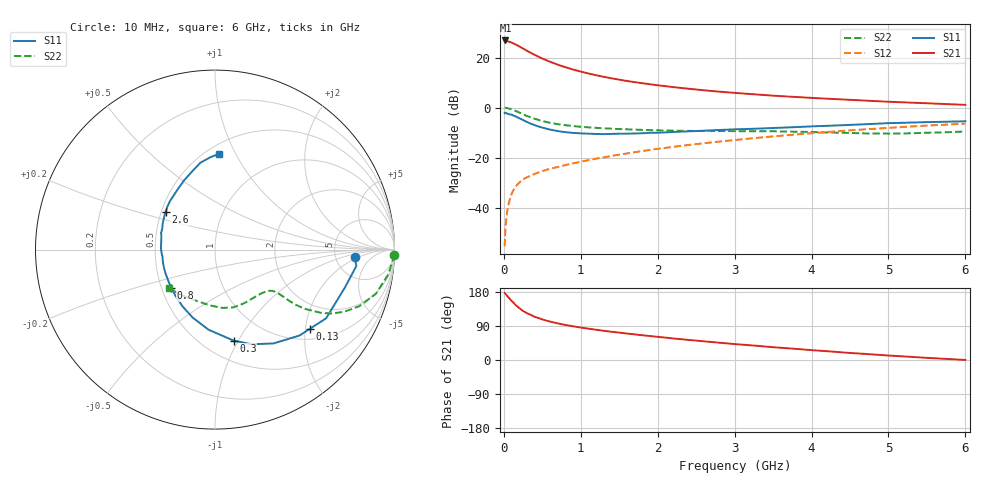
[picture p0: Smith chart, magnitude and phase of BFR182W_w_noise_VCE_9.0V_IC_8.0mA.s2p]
! Infineon Technologies  Discrete & RF Semiconductors
! BFR182W
! VCE =  9.0 V,  IC =  8.0 mA
! Common Emitter S-Parameters:  Jan 2017
# GHz  S  MA  R  50
!  f  S11  S21  S12  S22
! GHz  MAG  ANG  MAG  ANG  MAG  ANG  MAG  ANG
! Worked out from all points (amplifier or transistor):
!   77 points, 10 MHz to 6 GHz, reference 50 ohm
!   highest |S21| = 26.9 dB at 20 MHz (marker M1)
!   |S21| within 3 dB of that: start of sweep to 236.4 MHz
!   unconditionally stable (mu >= 1): 1.181 GHz to 2.7 GHz
!   at 130 MHz: K = 0.24, MSG = 29.1 dB, |S12| = -32.7 dB
!   at 2.2 GHz: K = 1.03, MAG = 10.9 dB, |S12| = -15.7 dB
!   at 6 GHz: K = 0.85, MSG = 3.8 dB, |S12| = -6.4 dB
!   lowest NFmin = 1.00 dB at 450 MHz
!   S11 on the Smith chart (normalised r, x): 10 MHz: 7.69, -1.71; 130 MHz: 1.27, -2.13; 300 MHz: 0.69, -0.96; 800 MHz: 0.56, -0.27; 2.6 GHz: 0.53, +0.25; 6 GHz: 0.58, +0.86
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0.01  0.7796 -3.2  21.86 176.8  0.0017 92.8  0.9968 -1.6
0.02  0.7928 -6.6  22.06 174.7  0.0036 91.2  0.9925 -3.4
0.05  0.7545 -16.1  21.33 167.5  0.0096 81.5  0.9751 -8.2
0.1  0.7279 -31.7  20.1 156.0  0.0187 75.2  0.9293 -15.4
0.13  0.6894 -39.7  19.05 150.0  0.0232 70.9  0.8889 -18.9
0.15  0.6717 -45.4  18.47 145.7  0.0263 68.8  0.8639 -21.4
0.2  0.6164 -58.0  16.78 137.0  0.0318 66.3  0.7992 -25.7
0.25  0.5653 -68.9  15.21 129.4  0.0369 62.0  0.7378 -28.9
0.3  0.5172 -78.5  13.71 123.5  0.0404 60.2  0.6821 -31.0
0.4  0.4482 -94.5  11.39 114.0  0.0474 58.5  0.5992 -33.4
0.5  0.3991 -108.1  9.595 107.1  0.0539 58.6  0.5401 -34.4
0.6  0.3647 -119.6  8.277 101.4  0.0601 58.3  0.4984 -34.6
0.7  0.3403 -129.8  7.235 96.7  0.0651 59.7  0.4681 -34.6
0.8  0.324 -138.7  6.441 92.5  0.0712 60.7  0.4461 -34.6
1.1  0.302 -160.6  4.823 82.7  0.0891 62.6  0.404 -35.2
1.5  0.3016 178.3  3.626 72.2  0.1149 64.0  0.3738 -38.1
2.1  0.3204 155.9  2.688 59.1  0.1573 63.8  0.3497 -46.4
2.6  0.3465 142.7  2.227 49.3  0.1942 62.2  0.3408 -55.8
3.1  0.3721 130.9  1.925 40.5  0.2333 59.6  0.3382 -65.3
4.1  0.4277 112.5  1.54 24.6  0.317 52.6  0.3232 -85.2
5.1  0.4947 98.3  1.295 10.6  0.4032 43.7  0.3038 -113.7
6  0.5342 87.6  1.139 0.1  0.4788 34.7  0.3343 -140.2
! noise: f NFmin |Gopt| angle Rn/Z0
0.45  1  0.12  39  0.15
0.9  1.08  0.12  69  0.15
1.9  1.59  0.18  -174  0.13
2.4  1.85  0.18  -169  0.19
